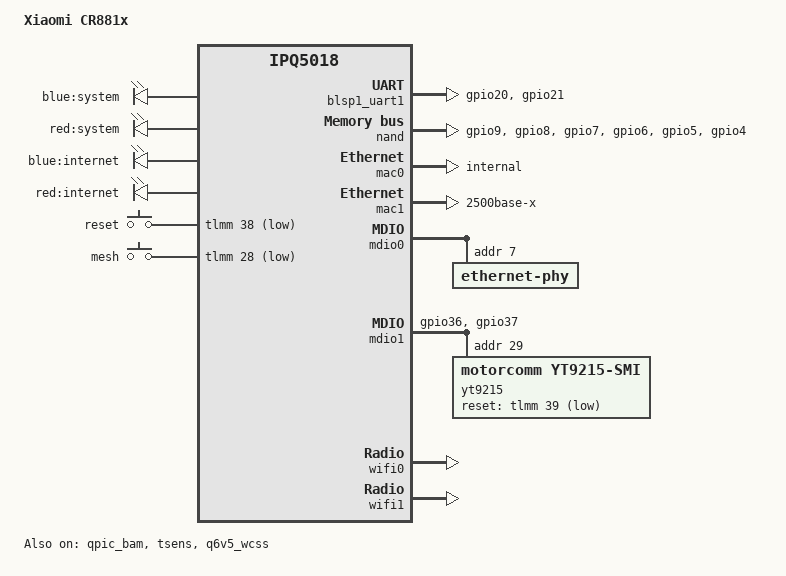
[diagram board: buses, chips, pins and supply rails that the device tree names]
// SPDX-License-Identifier: (GPL-2.0+)

/dts-v1/;

#include "ipq5018.dtsi"

/ {
	model = "Xiaomi CR881x";
	compatible = "xiaomi,cr881x", "qcom,ipq5018";

	#address-cells = <2>;
	#size-cells = <2>;
	interrupt-parent = <&intc>;

	aliases {
		serial0 = &blsp1_uart1;

		ethernet0 = &mac0;
		ethernet1 = &mac1;

		led-boot = &led_system_blue;
		led-failsafe = &led_system_red;
		led-running = &led_system_blue;
		led-upgrade = &led_system_red;
	};

	chosen {
		// Override the root parameter from u-boot
		// Increase coherent_pool size for WiFi
		bootargs-append = " root=/dev/ubiblock0_1 coherent_pool=2M";
		stdout-path = "serial0:115200n8";
	};

	reserved-memory {
		q6_mem_regions: q6_mem_regions@4b000000 {
			no-map;
#ifndef CONFIG_ATH11K_MEM_PROFILE_256M
			reg = <0x0 0x4b000000 0x0 0x3b00000>;
#else
			reg = <0x0 0x4b000000 0x0 0x3000000>;
#endif
		};
	};

	thermal-zones {
		status = "ok";
	};
};

&tmc_etr {
	/delete-property/ memory-region;
};

&tlmm {
	blsp_uart0_pins: blsp_uart0_pins {
		pins =
			"gpio20", // RX
			"gpio21"; // TX
		function = "blsp0_uart0";
		drive-strength = <8>;
		bias-disable;
	};

	qspi_nand_pins: qspi_nand_pins {
		clock {
			pins = "gpio9";
			function = "qspi_clk";
			drive-strength = <8>;
			bias-disable;
		};

		cs {
			pins = "gpio8";
			function = "qspi_cs";
			drive-strength = <8>;
			bias-disable;
		};

		data {
			pins = "gpio7", "gpio6", "gpio5", "gpio4";
			function = "qspi_data";
			drive-strength = <8>;
			bias-disable;
		};
	};

	mdio1_pins: mdio1_pins {
		mdc {
			pins = "gpio36";
			function = "mdc";
			drive-strength = <8>;
			bias-pull-up;
		};

		mdio {
			pins = "gpio37";
			function = "mdio";
			drive-strength = <8>;
			bias-pull-up;
		};
	};

	leds_pins: leds_pins {
		led_system_blue {
			pins = "gpio24";
			function = "gpio";
			drive-strength = <8>;
			bias-pull-down;
		};

		led_system_red {
			pins = "gpio25";
			function = "gpio";
			drive-strength = <8>;
			bias-pull-down;
		};

		led_internet_blue {
			pins = "gpio26";
			function = "gpio";
			drive-strength = <8>;
			bias-pull-down;
		};

		led_internet_red {
			pins = "gpio27";
			function = "gpio";
			drive-strength = <8>;
			bias-pull-down;
		};
	};

	button_pins: button_pins {
		button_reset {
			pins = "gpio38";
			function = "gpio";
			drive-strength = <8>;
			bias-pull-up;
		};

		button_mesh {
			pins = "gpio28";
			function = "gpio";
			drive-strength = <8>;
			bias-pull-up;
		};
	};
};

&blsp1_uart1 {
	pinctrl-0 = <&blsp_uart0_pins>;
	pinctrl-names = "default";
	status = "ok";
};

&qpic_bam {
	status = "ok";
};

&nand {
	pinctrl-0 = <&qspi_nand_pins>;
	pinctrl-names = "default";
	status = "ok";
};

&tsens {
	status = "ok";
};

&soc {
	leds {
		compatible = "gpio-leds";
		pinctrl-0 = <&leds_pins>;
		pinctrl-names = "default";

		led_system_blue: led_system_blue {
			label = "blue:system";
			gpio = <&tlmm 24 GPIO_ACTIVE_HIGH>;
			default-state = "on";
		};

		led_system_red: led_system_red {
			label = "red:system";
			gpio = <&tlmm 25 GPIO_ACTIVE_HIGH>;
		};

		led_internet_blue: led_internet_blue {
			label = "blue:internet";
			gpio = <&tlmm 26 GPIO_ACTIVE_HIGH>;
		};

		led_internet_red: led_internet_red {
			label = "red:internet";
			gpio = <&tlmm 27 GPIO_ACTIVE_HIGH>;
		};
	};

	button {
		compatible = "gpio-keys";
		pinctrl-0 = <&button_pins>;
		pinctrl-names = "default";

		button_reset {
			label = "reset";
			gpios = <&tlmm 38 GPIO_ACTIVE_LOW>;
			linux,input-type = <EV_KEY>;
			linux,code = <KEY_RESTART>;
			debounce-interval = <60>;
		};

		button_mesh {
			label = "mesh";
			gpios = <&tlmm 28 GPIO_ACTIVE_LOW>;
			linux,input-type = <EV_KEY>;
			linux,code = <KEY_WPS_BUTTON>;
			debounce-interval = <60>;
		};
	};

	ess-instance {
		num_devices = <1>;

		// Dummy switch, to describe how the external ports connects to the MAC
		// For example, some chips have PSGMII ports which combine 5 MAC into
		// 1 external port.
		// For IPQ50xx, this is used to choose SGMII or SGMII-plus
		ess-switch@0x39c00000 {
			compatible = "qcom,ess-switch-ipq50xx";
			device_id = <0>;

			cmnblk_clk = "internal_96MHz";

			// MAC1 Mode
			switch_mac_mode = <0xc>; // PORT_WRAPPER_SGMII_PLUS
			// switch_mac_mode = <0xf>; // PORT_WRAPPER_SGMII_CHANNEL0

			qcom,port_phyinfo {
				// MAC0 -> GE Phy -> YT9215 Phy4
				port@0 {
					port_id = <1>;

					mdiobus = <&mdio0>;
					phy_address = <7>;

					phy_dac = <0x10 0x10>;
				};

				// MAC1 ---SGMII---> YT9215 SerDes
				port@1 {
					port_id = <2>;

					forced-speed = <2500>;
					forced-duplex = <1>;
				};
			};
		};
	};

	// MAC0 -> GE Phy
	mac0: dp1 {
		compatible = "qcom,nss-dp";
		device_type = "network";
		qcom,id = <1>;

		reg = <0x39C00000 0x10000>;
		interrupts = <GIC_SPI 101 IRQ_TYPE_LEVEL_HIGH>;
		clocks = <&gcc GCC_SNOC_GMAC0_AXI_CLK>;
		clock-names = "nss-snoc-gmac-axi-clk";

		qcom,mactype = <2>; // GMAC_HAL_TYPE_SYN_GMAC
		local-mac-address = [000000000000];
		mdio-bus = <&mdio0>;
		qcom,phy-mdio-addr = <7>;
		phy-mode = "internal";
		qcom,link-poll = <1>;
	};

	// MAC1 ---SGMII---> YT9215 SerDes
	mac1: dp2 {
		compatible = "qcom,nss-dp";
		device_type = "network";
		qcom,id = <2>;

		reg = <0x39D00000 0x10000>;
		interrupts = <GIC_SPI 109 IRQ_TYPE_LEVEL_HIGH>;
		clocks = <&gcc GCC_SNOC_GMAC1_AXI_CLK>;
		clock-names = "nss-snoc-gmac-axi-clk";

		qcom,mactype = <2>; // GMAC_HAL_TYPE_SYN_GMAC
		local-mac-address = [000000000000];
		phy-mode = "2500base-x";
	};
};

&mdio0 {
	status = "ok";

	// IPQ5018 GE Phy -> YT9215 Phy4
	ethernet-phy@0 {
		reg = <7>;
	};
};

&mdio1 {
	pinctrl-0 = <&mdio1_pins>;
	pinctrl-names = "default";
	status = "ok";

	// Motorcomm YT9215
	yt9215: switch@1d {
		compatible = "motorcomm,yt9215-smi";
		reg = <29>;
		switchid = <0>;

		reset-gpios = <&tlmm 39 GPIO_ACTIVE_LOW>;
		reset-assert-us = <10000>; /* 10ms */
		reset-deassert-us = <50000>; /* 50ms */

		ports {
			// MAC0 -> Phy0 -> LAN1
			port@0 {
				reg = <0>;
			};

			// MAC1 -> Phy1 -> LAN2
			port@1 {
				reg = <1>;
			};

			// MAC2 -> Phy2 -> LAN3
			port@2 {
				reg = <2>;
			};

			// MAC3 -> Phy3 -> WAN
			port@3 {
				reg = <3>;
			};

			// MAC4 -> Phy4 -> IPQ5018 GE Phy
			port@4 {
				reg = <4>;
			};

			// MAC8 ---SGMII+---> IPQ5018 MAC1
			port@8 {
				reg = <8>;
				phy-mode = "2500base-x";

				fixed-link {
					speed = <2500>;
					full-duplex;
				};
			};
		};
	};
};

&q6v5_wcss {
	compatible = "qcom,ipq5018-q6-mpd";
	#address-cells = <1>;
	#size-cells = <1>;
	ranges;

	resets =
		<&gcc GCC_WCSSAON_RESET>,
		<&gcc GCC_WCSS_Q6_BCR>;
	reset-names =
		"wcss_aon_reset",
		"wcss_q6_reset";

	clocks =
		<&gcc GCC_Q6_AXIS_CLK>,
		<&gcc GCC_WCSS_ECAHB_CLK>,
		<&gcc GCC_Q6_AXIM_CLK>,
		<&gcc GCC_Q6_AXIM2_CLK>,
		<&gcc GCC_Q6_AHB_CLK>,
		<&gcc GCC_Q6_AHB_S_CLK>,
		<&gcc GCC_WCSS_AXI_S_CLK>;
	clock-names =
		"gcc_q6_axis_clk",
		"gcc_wcss_ecahb_clk",
		"gcc_q6_axim_clk",
		"gcc_q6_axim2_clk",
		"gcc_q6_ahb_clk",
		"gcc_q6_ahb_s_clk",
		"gcc_wcss_axi_s_clk";

	reg =
		<0x0cd00000 0x4040>,
		<0x1938000 0x8>,
		<0x193d204 0x4>;
	reg-names =
		"qdsp6",
		"tcsr-msip",
		"tcsr-q6";

	memory-region = <&q6_mem_regions>;

	qcom,rproc = <&q6v5_wcss>;
	firmware = "IPQ5018/q6_fw.mdt";

	qcom,bootargs_smem = <507>;
	boot-args = </*       type: */ 0x2 /* PCIE1 */
		     /*     length: */ 4
		     /*      PD id: */ 2
		     /* reset GPIO: */ 18
		     /*   reserved: */ 0 0>;

	status = "ok";

	// IPQ5018
	q6_wcss_pd1: remoteproc_pd1@4ab000 {
		compatible = "qcom,ipq5018-wcss-ahb-mpd";

		resets =
			<&gcc GCC_WCSSAON_RESET>,
			<&gcc GCC_WCSS_BCR>,
			<&gcc GCC_CE_BCR>;
		reset-names =
			"wcss_aon_reset",
			"wcss_reset",
			"ce_reset";

		clocks =
			<&gcc GCC_WCSS_AHB_S_CLK>,
			<&gcc GCC_WCSS_ACMT_CLK>,
			<&gcc GCC_WCSS_AXI_M_CLK>;
		clock-names =
			"gcc_wcss_ahb_s_clk",
					"gcc_wcss_acmt_clk",
					"gcc_wcss_axi_m_clk";

		reg = <0x4ab000 0x20>;
		reg-names = "rmb";

		qcom,halt-regs = <&tcsr_q6_block 0xa000 0xd000 0x0>;

		interrupts-extended =
			<&wcss_smp2p_in 8 0>,
			<&wcss_smp2p_in 9 0>,
			<&wcss_smp2p_in 12 0>,
			<&wcss_smp2p_in 11 0>;
		interrupt-names =
			"fatal",
			"ready",
			"spawn-ack",
			"stop-ack";

		qcom,smem-states =
			<&wcss_smp2p_out 8>,
			<&wcss_smp2p_out 9>,
			<&wcss_smp2p_out 10>;
		qcom,smem-state-names =
			"shutdown",
			"stop",
			"spawn";

		firmware = "IPQ5018/q6_fw.mdt";
		m3_firmware = "IPQ5018/m3_fw.mdt";
	};

	// QCN6102
	q6_wcss_pd2: remoteproc_pd2 {
		compatible = "qcom,ipq5018-wcss-pcie-mpd";

		interrupts-extended =
			<&wcss_smp2p_in 16 0>,
			<&wcss_smp2p_in 17 0>,
			<&wcss_smp2p_in 20 0>,
			<&wcss_smp2p_in 19 0>;
		interrupt-names =
			"fatal",
			"ready",
			"spawn-ack",
			"stop-ack";

		qcom,smem-states =
			<&wcss_smp2p_out 16>,
			<&wcss_smp2p_out 17>,
			<&wcss_smp2p_out 18>;
		qcom,smem-state-names =
			"shutdown",
			"stop",
			"spawn";

		firmware = "IPQ5018/q6_fw.mdt";
		m3_firmware = "qcn6122/m3_fw.mdt";
	};
};

&wifi0 {
	// IPQ5018
	qcom,multipd_arch;
	qcom,rproc = <&q6_wcss_pd1>;
	qcom,userpd-subsys-name = "q6v5_wcss_userpd1";

	qcom,board_id = <0x23>;

	qcom,bdf-addr = <0x4c400000 0x4c400000 0x4c400000>;
	qcom,caldb-addr = <0x4d200000 0x4d200000 0>;
#ifndef CONFIG_ATH11K_MEM_PROFILE_256M
	m3-dump-addr = <0x4d400000>;
#else
	m3-dump-addr = <0>;
#endif

	status = "ok";
};

&wifi1 {
	// QCN6102
	qcom,multipd_arch;
	qcom,rproc = <&q6_wcss_pd2>;
	qcom,userpd-subsys-name = "q6v5_wcss_userpd2";

	qcom,board_id = <0x60>;

	qcom,bdf-addr = <0x4d500000 0x4d500000 0x4d100000>;
	qcom,caldb-addr = <0x4e500000 0x4e500000 0>;
#ifndef CONFIG_ATH11K_MEM_PROFILE_256M
	m3-dump-addr = <0x4ea00000>;
#else
	m3-dump-addr = <0x4df00000>;
#endif

	status = "ok";
};
